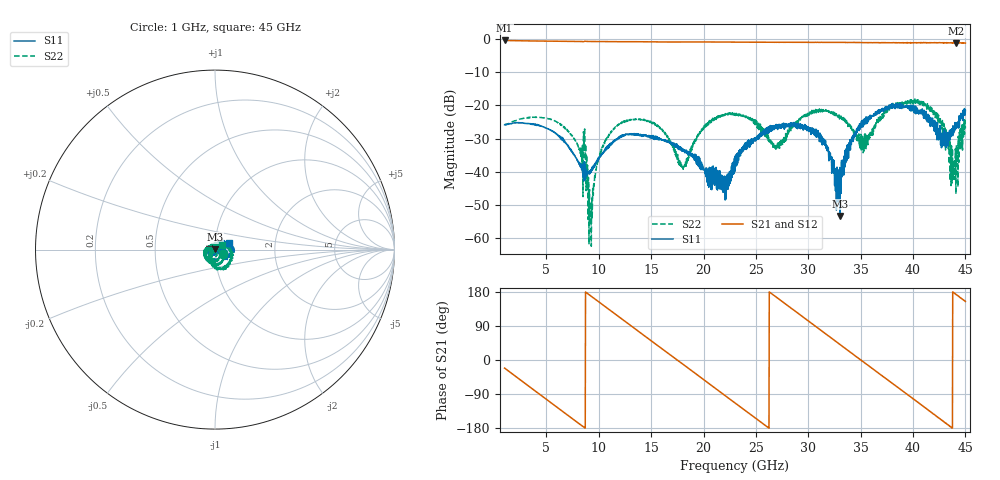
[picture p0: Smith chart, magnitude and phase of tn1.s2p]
!Keysight Technologies,N5247B,MY61255062,A.19.80.06
!Date: Thursday, May 21, 2026 12:34:35
!Correction: S11(Cdelta 2-Port  )
!S21(Cdelta 2-Port  )
!S12(Cdelta 2-Port  )
!S22(Cdelta 2-Port  )
!S2P File: Measurements: S11, S21, S12, S22:
# Hz S  dB  R 50
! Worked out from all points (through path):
!   1601 points, 1 GHz to 45 GHz, reference 50 ohm
!   highest |S21| = -0.47 dB at 1 GHz (marker M1); lowest = -1.3 dB at 44.15 GHz (marker M2)
!   group delay of S21, straight-line fit = 57 ps
!   lowest |S11| = -53.2 dB at 33.04 GHz (marker M3), VSWR 1.00, Z = 50 + j0.216 ohm
!   |S11| at or under -10 dB: start of sweep to end of sweep
!   |S22| runs from -62.3 to -18.1 dB; largest |S21 - S12| = 0.016
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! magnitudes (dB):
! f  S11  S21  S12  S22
! 1 GHz  -25.9  -0.5  -0.5  -25.7
! 5.565 GHz  -27.7  -0.7  -0.7  -24.4
! 8.342 GHz  -39.2  -0.8  -0.8  -32.5
! 8.727 GHz  -41.7  -0.7  -0.7  -31.7
! 9.195 GHz  -40.3  -0.8  -0.8  -49.2
! 10.02 GHz  -36.1  -0.8  -0.8  -36.1
! 11.26 GHz  -31.1  -0.8  -0.8  -27.9
! 15.69 GHz  -29.8  -0.9  -0.9  -26.4
! 18.05 GHz  -33.4  -0.9  -0.9  -39.2
! 19.95 GHz  -39.3  -0.9  -0.9  -27.3
! 22.01 GHz  -41.3  -0.9  -0.9  -22.7
! 23 GHz  -37.1  -1.0  -1.0  -22.5
! 27.04 GHz  -26.0  -1.0  -1.0  -31.6
! 30.34 GHz  -28.3  -1.0  -1.0  -21.5
! 33.04 GHz  -53.2  -1.1  -1.1  -23.5
! 35.29 GHz  -25.9  -1.1  -1.1  -29.7
! 37.69 GHz  -20.7  -1.1  -1.2  -20.7
! 41.59 GHz  -23.5  -1.1  -1.1  -21.6
! 42.94 GHz  -27.3  -1.1  -1.2  -29.1
! 43.76 GHz  -27.8  -1.1  -1.2  -33.0
! 44.15 GHz  -26.9  -1.3  -1.2  -31.8
! 45 GHz  -21.5  -1.3  -1.3  -26.9
